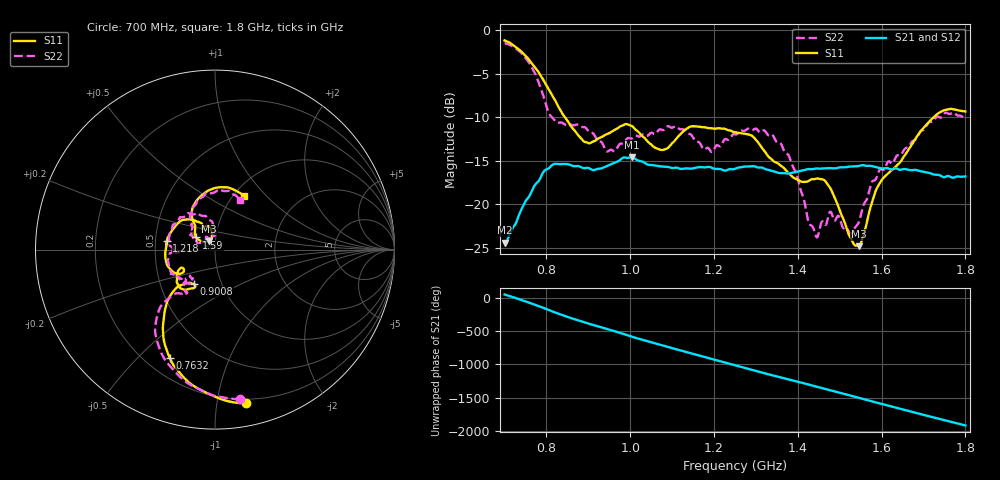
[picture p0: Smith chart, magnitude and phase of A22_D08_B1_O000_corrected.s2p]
! Created with skrf 1.9.0 (http://scikit-rf.org).
# Hz S RI R 50.0
!freq ReS11 ImS11 ReS21 ImS21 ReS12 ImS12 ReS22 ImS22
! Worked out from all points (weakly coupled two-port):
!   1601 points, 700 MHz to 1.8 GHz, reference 50 ohm
!   highest |S21| = -14.57 dB at 1.003 GHz (marker M1); lowest = -24.4 dB at 700 MHz (marker M2)
!   lowest |S11| = -24.8 dB at 1.546 GHz (marker M3), VSWR 1.12, Z = 46.6 + j4.44 ohm
!   |S11| at or under -10 dB: 844 MHz to 1.724 GHz (880 MHz wide, 68.5 % of centre)
!   |S22| runs from -23.8 to -1.5 dB; largest |S21 - S12| = 0.0036
!   S11 on the Smith chart (normalised r, x): 700 MHz: 0.17, -1.21; 763.2 MHz: 0.30, -0.62; 900.8 MHz: 0.74, -0.30; 1.218 GHz: 0.57, +0.06; 1.59 GHz: 0.80, +0.11; 1.8 GHz: 1.12, +0.76
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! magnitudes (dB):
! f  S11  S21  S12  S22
! 700 MHz  -1.2  -24.4  -24.2  -1.5
! 763.2 MHz  -3.7  -18.6  -18.7  -4.1
! 812.1 MHz  -7.3  -15.5  -15.5  -9.9
! 883.6 MHz  -12.5  -15.7  -15.6  -11.1
! 900.8 MHz  -13.0  -15.8  -15.8  -11.6
! 945.4 MHz  -11.9  -15.6  -15.6  -13.9
! 1.003 GHz  -11.0  -14.6  -14.7  -12.4
! 1.067 GHz  -13.6  -15.6  -15.6  -11.5
! 1.143 GHz  -11.1  -15.9  -15.9  -11.9
! 1.218 GHz  -11.3  -16.0  -16.0  -13.2
! 1.25 GHz  -11.7  -15.9  -15.8  -12.0
! 1.359 GHz  -15.5  -16.4  -16.4  -13.0
! 1.395 GHz  -17.1  -16.3  -16.3  -16.3
! 1.434 GHz  -17.1  -16.0  -15.9  -22.5
! 1.446 GHz  -17.0  -15.9  -15.9  -23.8
! 1.472 GHz  -17.8  -15.8  -15.8  -21.5
! 1.526 GHz  -23.9  -15.7  -15.6  -23.4
! 1.546 GHz  -24.8  -15.6  -15.6  -22.0
! 1.59 GHz  -18.0  -15.8  -15.8  -16.6
! 1.617 GHz  -16.4  -15.9  -15.9  -15.0
! 1.731 GHz  -9.7  -16.6  -16.6  -9.9
! 1.8 GHz  -9.3  -16.8  -16.8  -10.2
